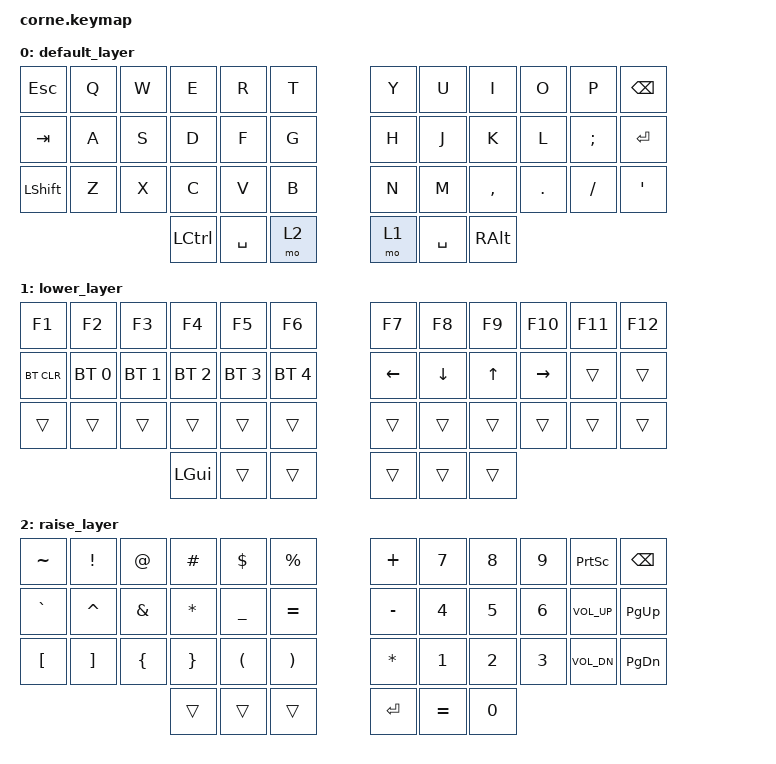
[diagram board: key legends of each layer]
/*
 * Copyright (c) 2020 The ZMK Contributors
 *
 * SPDX-License-Identifier: MIT
 */

#include <behaviors.dtsi>
#include <dt-bindings/zmk/bt.h>
#include <dt-bindings/zmk/keys.h>

&soft_off {
    hold-time-ms = <3000>; // Only turn off it the key is held for 5 seconds or longer.
};

&soft_off { /delete-property/ split-peripheral-off-on-press; };

/ {
    keymap {
        compatible = "zmk,keymap";

        default_layer {
            // -----------------------------------------------------------------------------------------
            // |  TAB |  Q  |  W  |  E  |  R  |  T  |   |  Y  |  U   |  I  |  O  |  P  | BKSP |
            // | CTRL |  A  |  S  |  D  |  F  |  G  |   |  H  |  J   |  K  |  L  |  ;  |  '   |
            // | SHFT |  Z  |  X  |  C  |  V  |  B  |   |  N  |  M   |  ,  |  .  |  /  | ESC  |
            //                    | GUI | LWR | SPC |   | ENT | RSE  | ALT |

            bindings = <
&kp ESCAPE      &kp Q  &kp W  &kp E      &kp R      &kp T    &kp Y  &kp U      &kp I      &kp O    &kp P     &kp BSPC
&kp TAB         &kp A  &kp S  &kp D      &kp F      &kp G    &kp H  &kp J      &kp K      &kp L    &kp SEMI  &kp ENTER
&kp LEFT_SHIFT  &kp Z  &kp X  &kp C      &kp V      &kp B    &kp N  &kp M      &kp COMMA  &kp DOT  &kp FSLH  &kp SQT
                              &kp LCTRL  &kp SPACE  &mo 2    &mo 1  &kp SPACE  &kp RALT
            >;
        };

        lower_layer {
            // -----------------------------------------------------------------------------------------
            // |  TAB |  1  |  2  |  3  |  4  |  5  |   |  6  |  7  |  8  |  9  |  0  | BKSP |
            // | BTCLR| BT1 | BT2 | BT3 | BT4 | BT5 |   | LFT | DWN |  UP | RGT |     |      |
            // | SHFT |     |     |     |     |     |   |     |     |     |     |     |      |
            //                    | GUI |     | SPC |   | ENT |     | ALT |

            bindings = <
&kp F1      &kp F2        &kp F3        &kp F4        &kp F5        &kp F6          &kp F7    &kp F8    &kp F9  &kp F10    &kp F11  &kp F12
&bt BT_CLR  &bt BT_SEL 0  &bt BT_SEL 1  &bt BT_SEL 2  &bt BT_SEL 3  &bt BT_SEL 4    &kp LEFT  &kp DOWN  &kp UP  &kp RIGHT  &trans   &trans
&trans      &trans        &trans        &trans        &trans        &trans          &trans    &trans    &trans  &trans     &trans   &trans
                                        &kp LGUI      &trans        &trans          &trans    &trans    &trans
            >;
        };

        raise_layer {
            // -----------------------------------------------------------------------------------------
            // |  TAB |  !  |  @  |  #  |  $  |  %  |   |  ^  |  &  |  *  |  (  |  )  | BKSP |
            // | CTRL |     |     |     |     |     |   |  -  |  =  |  [  |  ]  |  \  |  `   |
            // | SHFT |     | OFF |     |     |     |   |  _  |  +  |  {  |  }  | "|" |  ~   |
            //                    | GUI |     | SPC |   | ENT |     | ALT |

            bindings = <
&kp TILDE         &kp EXCL           &kp AT          &kp HASH         &kp DLLR              &kp PRCNT                &kp PLUS      &kp NUMBER_7  &kp N8        &kp NUMBER_9  &kp PRINTSCREEN  &kp BSPC
&kp GRAVE         &kp CARET          &kp AMPERSAND   &kp ASTERISK     &kp UNDERSCORE        &kp EQUAL                &kp MINUS     &kp NUMBER_4  &kp NUMBER_5  &kp NUMBER_6  &kp C_VOLUME_UP  &kp PAGE_UP
&kp LEFT_BRACKET  &kp RIGHT_BRACKET  &kp LEFT_BRACE  &kp RIGHT_BRACE  &kp LEFT_PARENTHESIS  &kp RIGHT_PARENTHESIS    &kp ASTERISK  &kp NUMBER_1  &kp NUMBER_2  &kp NUMBER_3  &kp C_VOL_DN     &kp PAGE_DOWN
                                                     &trans           &trans                &trans                   &kp RET       &kp EQUAL     &kp NUMBER_0
            >;
        };
    };
};
